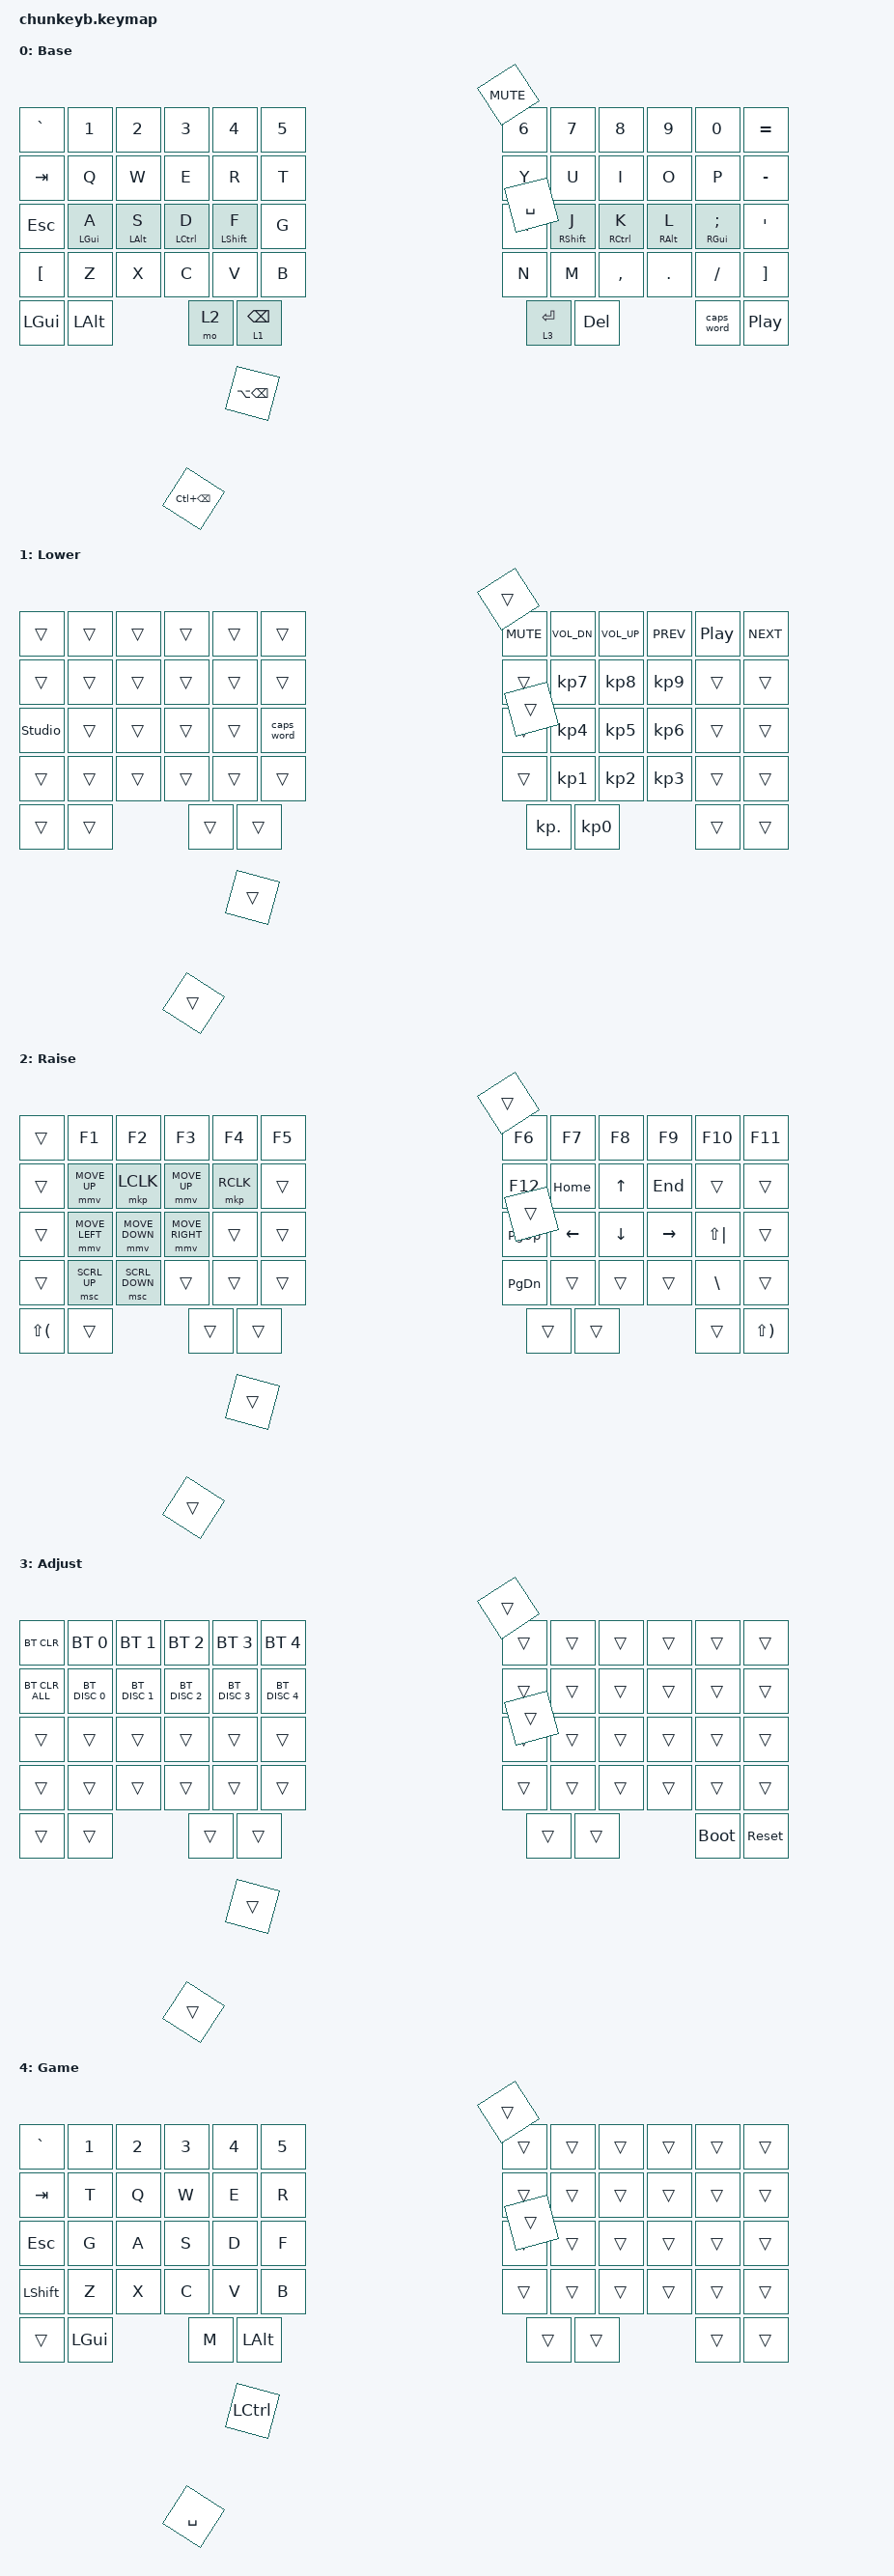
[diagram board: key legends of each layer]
/*
 * Copyright (c) 2020 The ZMK Contributors
 *
 * SPDX-License-Identifier: MIT
 */

#include <behaviors.dtsi>
#include <dt-bindings/zmk/bt.h>
#include <dt-bindings/zmk/keys.h>
#include <dt-bindings/zmk/pointing.h>

/ {
    combos {
        compatible = "zmk,combos";

        // Navigation & System Combos
        to_default {
            bindings = <&to 0>;
            key-positions = <0 1>;
        };

        tog_game {
            bindings = <&tog 4>; // Toggles Game Layer (Layer 4)
            key-positions = <0 2>;
        };

        // Quick-Access Combos
        combo_esc {
            bindings = <&kp ESC>;
            key-positions = <13 14>;
        };

        combo_bspc {
            bindings = <&kp BSPC>;
            key-positions = <22 23>;
        };

        combo_ret {
            bindings = <&kp RET>;
            key-positions = <31 32>;
        };

        // Clipboard Combos
        undo {
            bindings = <&kp LC(Z)>;
            key-positions = <37 38>;
        };

        cut {
            bindings = <&kp LC(X)>;
            key-positions = <38 39>;
        };

        copy {
            bindings = <&kp LC(C)>;
            key-positions = <39 40>;
        };

        paste {
            bindings = <&kp LC(V)>;
            key-positions = <40 41>;
        };
    };

    // Automatically activates Layer 3 (Adjust) when holding both Lower (Layer 1) & Raise (Layer 2)
    conditional_layers {
        compatible = "zmk,conditional-layers";
        tri_layer {
            if-layers = <1 2>;
            then-layer = <3>;
        };
    };

    behaviors {
        // Left Home Row Mod
        hml: home_row_mod_left {
            compatible = "zmk,behavior-hold-tap";
            label = "HOME_ROW_MOD_LEFT";
            #binding-cells = <2>;
            flavor = "balanced";
            tapping-term-ms = <200>;
            quick-tap-ms = <175>;
            require-prior-idle-ms = <150>;
            bindings = <&kp>, <&kp>;
        };

        // Right Home Row Mod
        hmr: home_row_mod_right {
            compatible = "zmk,behavior-hold-tap";
            label = "HOME_ROW_MOD_RIGHT";
            #binding-cells = <2>;
            flavor = "balanced";
            tapping-term-ms = <200>;
            quick-tap-ms = <175>;
            require-prior-idle-ms = <150>;
            bindings = <&kp>, <&kp>;
        };

        bspc_shift: bspc_shift {
            compatible = "zmk,behavior-tap-dance";
            label = "BSPC_SHIFT";
            #binding-cells = <0>;
            bindings = <&kp BSPC>, <&kp LSHFT>;
        };
    };

    keymap {
        compatible = "zmk,keymap";

        /* ----------------------------------------------------------------------------------------------------------------------------------
         * LAYER 0: BASE
         * ----------------------------------------------------------------------------------------------------------------------------------
         * COL:    0          1              2              3               4               5                      6                 7               8               9              10                11
         */
        Base {
            bindings = <
&kp GRAVE  &kp N1         &kp N2         &kp N3          &kp N4          &kp N5                 &kp N6            &kp N7          &kp N8          &kp N9         &kp N0            &kp EQUAL
&kp TAB    &kp Q          &kp W          &kp E           &kp R           &kp T                  &kp Y             &kp U           &kp I           &kp O          &kp P             &kp MINUS
&kp ESC    &hml LGUI A    &hml LALT S    &hml LCTRL D    &hml LSHFT F    &kp G                  &kp H             &hmr RSHFT J    &hmr RCTRL K    &hmr RALT L    &hmr RGUI SEMI    &kp SQT
&kp LBKT   &kp Z          &kp X          &kp C           &kp V           &kp B                  &kp N             &kp M           &kp COMMA       &kp DOT        &kp FSLH          &kp RBKT
&kp LGUI   &kp LALT       &mo 2          &lt 1 BSPC      &kp LA(BSPC)    &kp LC(BSPC)           &kp C_MUTE        &kp SPACE       &lt 3 RET       &kp DEL        &caps_word        &kp C_PP
            >;
        };

        /* ----------------------------------------------------------------------------------------------------------------------------------
         * LAYER 1: LOWER (Numpad, Media, Caps Word, Studio)
         * ----------------------------------------------------------------------------------------------------------------------------------
         * COL:    0          1              2              3               4               5                      6                 7               8               9              10                11
         */
        Lower {
            bindings = <
&trans          &trans        &trans     &trans     &trans     &trans     &kp C_MUTE    &kp C_VOL_DN  &kp C_VOL_UP  &kp C_PREV  &kp C_PP  &kp C_NEXT
&trans          &trans        &trans     &trans     &trans     &trans     &trans        &kp KP_N7     &kp KP_N8     &kp KP_N9   &trans    &trans
&studio_unlock  &trans        &trans     &trans     &trans     &caps_word &trans        &kp KP_N4     &kp KP_N5     &kp KP_N6   &trans    &trans
&trans          &trans        &trans     &trans     &trans     &trans     &trans        &kp KP_N1     &kp KP_N2     &kp KP_N3   &trans    &trans
&trans          &trans        &trans     &trans     &trans     &trans     &trans        &trans        &kp KP_DOT    &kp KP_N0   &trans    &trans
            >;
        };

        /* ----------------------------------------------------------------------------------------------------------------------------------
         * LAYER 2: RAISE (Navigation, Mouse Emulation, F-Keys)
         * ----------------------------------------------------------------------------------------------------------------------------------
         * COL:    0          1              2              3               4               5                      6                 7               8               9              10                11
         */
        Raise {
            bindings = <
&trans        &kp F1          &kp F2          &kp F3          &kp F4          &kp F5   &kp F6     &kp F7    &kp F8    &kp F9     &kp F10       &kp F11
&trans        &mmv MOVE_UP    &mkp LCLK       &mmv MOVE_UP    &mkp RCLK       &trans   &kp F12    &kp HOME  &kp UP    &kp END    &trans        &trans
&trans        &mmv MOVE_LEFT  &mmv MOVE_DOWN  &mmv MOVE_RIGHT &trans          &trans   &kp PG_UP  &kp LEFT  &kp DOWN  &kp RIGHT  &kp LS(PIPE)  &trans
&trans        &msc SCRL_UP    &msc SCRL_DOWN  &trans          &trans          &trans   &kp PG_DN  &trans    &trans    &trans     &kp BSLH      &trans
&kp LS(LPAR)  &trans          &trans          &trans          &trans          &trans   &trans     &trans    &trans    &trans     &trans        &kp LS(RPAR)
            >;
        };

        /* ----------------------------------------------------------------------------------------------------------------------------------
         * LAYER 3: ADJUST (Bluetooth, Reset, Bootloader - Tri-Layer active via L1 + L2)
         * ----------------------------------------------------------------------------------------------------------------------------------
         * COL:    0          1              2              3               4               5                      6                 7               8               9              10                11
         */
        Adjust {
            bindings = <
&bt BT_CLR      &bt BT_SEL 0   &bt BT_SEL 1   &bt BT_SEL 2   &bt BT_SEL 3   &bt BT_SEL 4   &trans  &trans  &trans  &trans  &trans       &trans
&bt BT_CLR_ALL  &bt BT_DISC 0  &bt BT_DISC 1  &bt BT_DISC 2  &bt BT_DISC 3  &bt BT_DISC 4  &trans  &trans  &trans  &trans  &trans       &trans
&trans          &trans         &trans         &trans         &trans         &trans         &trans  &trans  &trans  &trans  &trans       &trans
&trans          &trans         &trans         &trans         &trans         &trans         &trans  &trans  &trans  &trans  &trans       &trans
&trans          &trans         &trans         &trans         &trans         &trans         &trans  &trans  &trans  &trans  &bootloader  &sys_reset
            >;
        };

        /* ----------------------------------------------------------------------------------------------------------------------------------
         * LAYER 4: GAME (Gaming Mode - Standard Left Hand Controls without HRM)
         * ----------------------------------------------------------------------------------------------------------------------------------
         * COL:    0          1              2              3               4               5                      6                 7               8               9              10                11
         */
        Game {
            bindings = <
&kp GRAVE  &kp N1    &kp N2  &kp N3    &kp N4     &kp N5     &trans  &trans  &trans  &trans  &trans  &trans
&kp TAB    &kp T     &kp Q   &kp W     &kp E      &kp R      &trans  &trans  &trans  &trans  &trans  &trans
&kp ESC    &kp G     &kp A   &kp S     &kp D      &kp F      &trans  &trans  &trans  &trans  &trans  &trans
&kp LSHFT  &kp Z     &kp X   &kp C     &kp V      &kp B      &trans  &trans  &trans  &trans  &trans  &trans
&trans     &kp LGUI  &kp M   &kp LALT  &kp LCTRL  &kp SPACE  &trans  &trans  &trans  &trans  &trans  &trans
            >;
        };
    };
};
